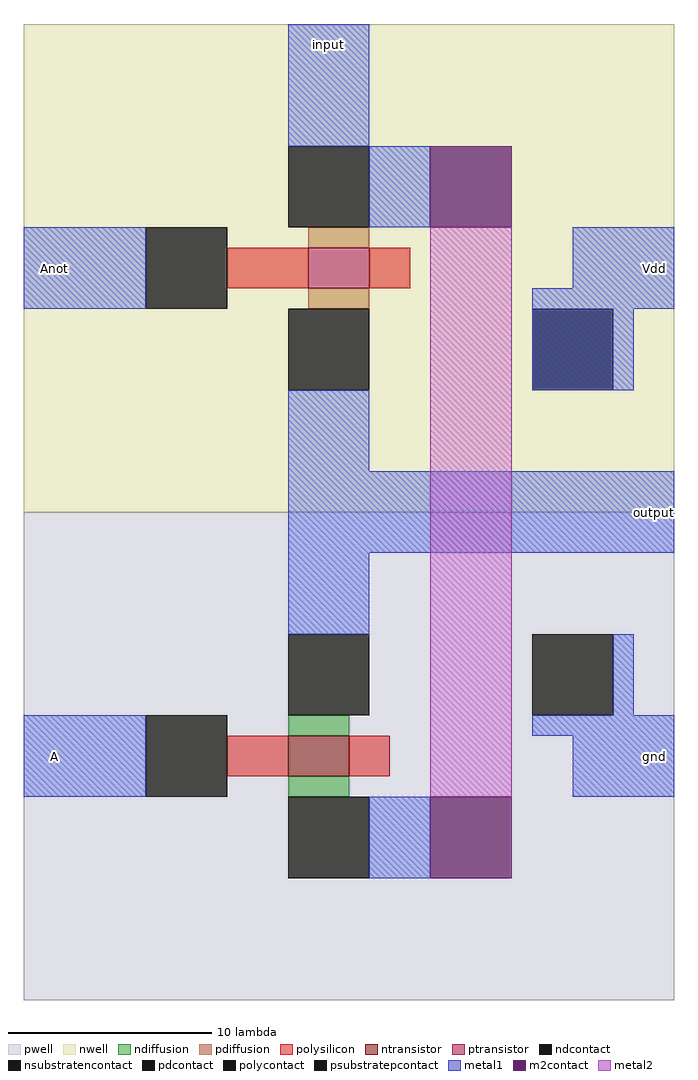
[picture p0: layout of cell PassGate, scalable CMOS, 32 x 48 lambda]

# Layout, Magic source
magic
tech scmos
<< nwell >>
rect -17 7 15 31
<< pwell >>
rect -17 -17 15 7
<< ntransistor >>
rect -4 -6 -1 -4
<< ptransistor >>
rect -3 18 0 20
<< ndiffusion >>
rect -4 -4 -1 -3
rect -4 -7 -1 -6
<< pdiffusion >>
rect -3 20 0 21
rect -3 17 0 18
<< ndcontact >>
rect -4 -3 0 1
rect -4 -11 0 -7
<< pdcontact >>
rect -4 21 0 25
rect -4 13 0 17
<< psubstratepcontact >>
rect 8 -3 12 1
<< nsubstratencontact >>
rect 8 13 12 17
<< polysilicon >>
rect -7 18 -3 20
rect 0 18 2 20
rect -7 -6 -4 -4
rect -1 -6 1 -4
<< polycontact >>
rect -11 17 -7 21
rect -11 -7 -7 -3
<< metal1 >>
rect -4 25 0 31
rect 0 21 3 25
rect -17 17 -11 21
rect 10 18 15 21
rect 8 17 15 18
rect 8 13 13 17
rect -4 9 0 13
rect -4 5 15 9
rect -4 1 0 5
rect 12 -3 13 1
rect -17 -7 -11 -3
rect 8 -4 15 -3
rect 10 -7 15 -4
rect 0 -11 3 -7
<< m2contact >>
rect 3 21 7 25
rect 3 -11 7 -7
<< metal2 >>
rect 3 -7 7 21
<< labels >>
rlabel metal1 -17 17 -14 21 3 Anot
rlabel metal1 -17 -7 -14 -3 3 A
rlabel metal1 -4 29 0 31 5 input
rlabel metal1 13 5 15 9 7 output
rlabel metal1 13 -7 15 -3 7 gnd
rlabel metal1 13 17 15 21 7 Vdd
<< end >>
